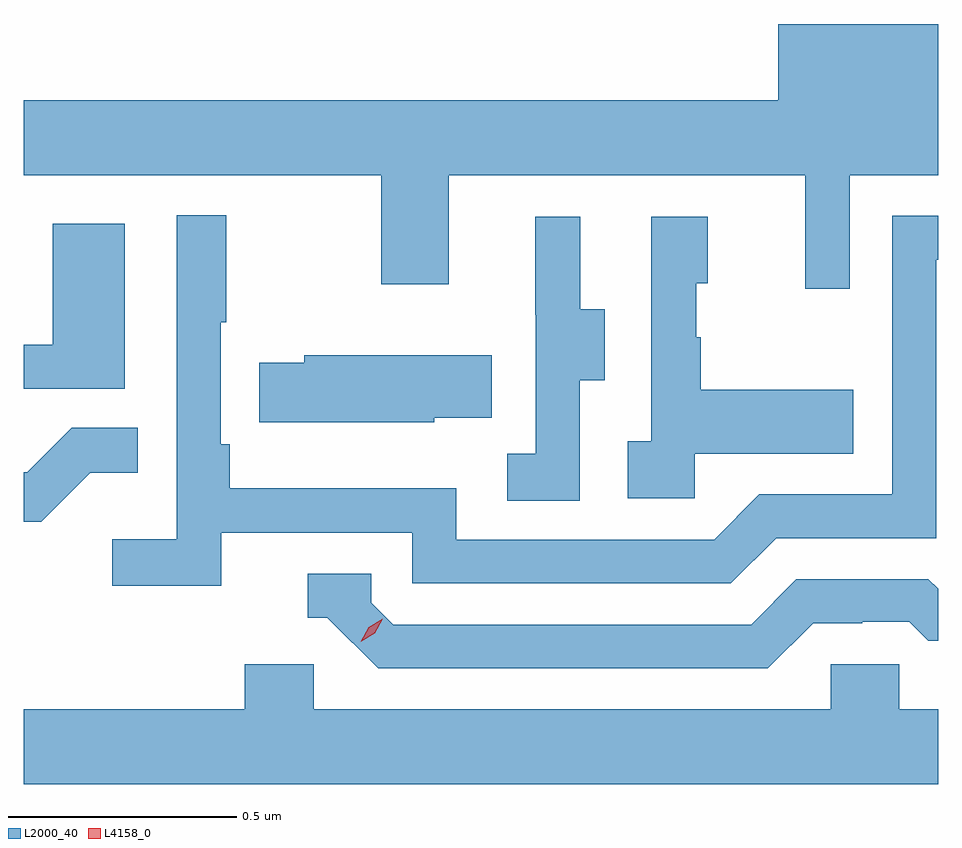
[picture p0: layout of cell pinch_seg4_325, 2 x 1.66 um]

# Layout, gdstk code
import gdstk
lib = gdstk.Library(unit=1e-6, precision=1e-09)
def P(c, l, *ps):  # polygons
    for p in ps: c.add(gdstk.Polygon(p, *l))
L2000_40 = (2000, 40)
L4158_0 = (4158, 0)

pinch_seg4_325 = lib.new_cell('pinch_seg4_325')
P(pinch_seg4_325, L2000_40, [(911.661,806.144),(911.854,806.144),(911.854,806.475),(911.504,806.475),(911.504,806.308),(909.854,806.308),(909.854,806.144),(910.636,806.144),(910.636,805.905),(910.783,805.905),(910.783,806.144),(911.564,806.144),(911.564,805.896),(911.661,805.896)],
  [(910.286,805.362),(910.704,805.362),(910.704,805.251),(911.401,805.251),(911.5,805.35),(911.85,805.35),(911.85,805.959),(911.854,805.959),(911.854,806.055),(911.754,806.055),(911.754,805.446),(911.463,805.446),(911.364,805.347),(910.8,805.347),(910.8,805.459),(910.304,805.459),(910.304,805.555),(910.284,805.555),(910.284,805.822),(910.297,805.822),(910.297,806.056),(910.188,806.056),(910.188,805.348),(910.047,805.348),(910.047,805.246),(910.286,805.246)],
  [(911.07,805.696),(911.125,805.696),(911.125,805.851),(911.071,805.851),(911.071,806.053),(910.973,806.053),(910.973,805.839),(910.974,805.839),(910.974,805.535),(910.911,805.535),(910.911,805.432),(911.07,805.432)],
  [(911.322,805.535),(911.669,805.535),(911.669,805.675),(911.335,805.675),(911.335,805.79),(911.325,805.79),(911.325,805.908),(911.35,805.908),(911.35,806.053),(911.226,806.053),(911.226,805.562),(911.175,805.562),(911.175,805.437),(911.322,805.437)],
  [(910.075,806.038),(909.917,806.038),(909.917,805.773),(909.854,805.773),(909.854,805.677),(910.075,805.677)],
  [(910.752,805.613),(910.877,805.613),(910.877,805.75),(910.467,805.75),(910.467,805.734),(910.369,805.734),(910.369,805.604),(910.752,805.604)],
  [(909.999,805.493),(910.103,805.493),(910.103,805.592),(909.959,805.592),(909.861,805.494),(909.854,805.494),(909.854,805.386),(909.892,805.386)],
  [(911.581,805.164),(911.688,805.164),(911.688,805.167),(911.791,805.167),(911.833,805.125),(911.854,805.125),(911.854,805.239),(911.833,805.26),(911.544,805.26),(911.445,805.161),(910.662,805.161),(910.614,805.209),(910.614,805.272),(910.475,805.272),(910.475,805.176),(910.518,805.176),(910.629,805.065),(911.482,805.065)],
  [(911.854,804.976),(911.769,804.976),(911.769,805.074),(911.619,805.074),(911.619,804.976),(910.488,804.976),(910.488,805.074),(910.337,805.074),(910.337,804.976),(909.854,804.976),(909.854,804.812),(911.854,804.812)])
P(pinch_seg4_325, L4158_0, [(910.591,805.123),(910.591,805.123),(910.608,805.155),(910.639,805.174),(910.639,805.174),(910.639,805.174),(910.622,805.142),(910.591,805.123)])

lib.write_gds('pinch_seg4_325.gds')
